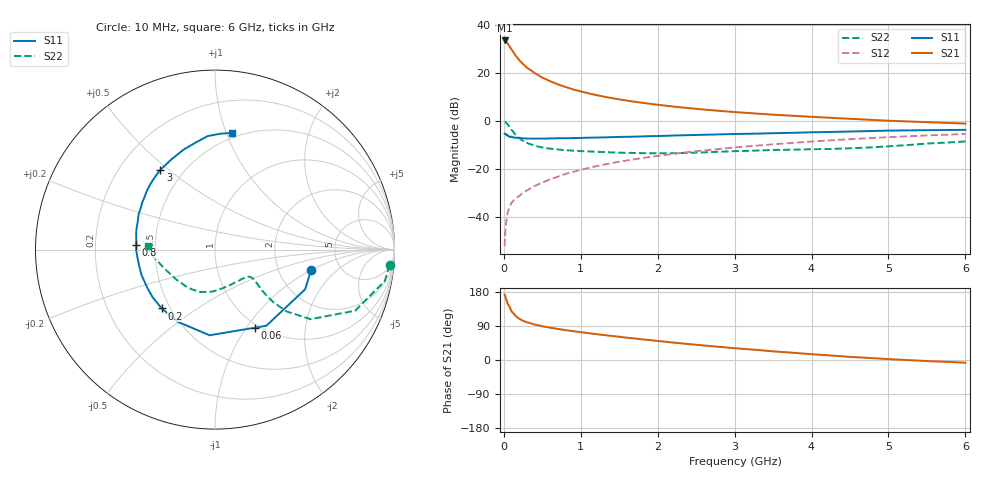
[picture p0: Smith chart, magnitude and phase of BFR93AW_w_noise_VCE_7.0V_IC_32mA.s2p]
! Infineon Technologies  Discrete & RF Semiconductors
! BFR93AW
! VCE =  7.0 V,  IC =  32 mA
! Common Emitter S-Parameters:  Jan 2017
# GHz  S  MA  R  50
!  f  S11  S21  S12  S22
! GHz  MAG  ANG  MAG  ANG  MAG  ANG  MAG  ANG
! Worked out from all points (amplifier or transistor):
!   77 points, 10 MHz to 6 GHz, reference 50 ohm
!   highest |S21| = 33.5 dB at 10 MHz (marker M1)
!   |S21| within 3 dB of that: start of sweep to 83.91 MHz
!   unconditionally stable (mu >= 1): 591.1 MHz to 2.045 GHz
!   at 130 MHz: K = 0.52, MSG = 30.6 dB, |S12| = -32.9 dB
!   at 2.2 GHz: K = 0.99, MSG = 9.9 dB, |S12| = -13.7 dB
!   at 6 GHz: K = 0.87, MSG = 2.2 dB, |S12| = -5.4 dB
!   lowest NFmin = 1.86 dB at 450 MHz
!   S11 on the Smith chart (normalised r, x): 10 MHz: 3.06, -1.00; 60 MHz: 0.96, -1.10; 200 MHz: 0.45, -0.37; 800 MHz: 0.39, +0.02; 3 GHz: 0.37, +0.47; 6 GHz: 0.46, +1.05
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0.01  0.5475 -12.0  47.47 172.6  0.0025 93.9  0.9764 -5.1
0.02  0.5487 -23.8  46.81 166.2  0.0052 80.5  0.9621 -10.5
0.05  0.5117 -56.0  41.07 148.4  0.0125 69.8  0.8516 -23.6
0.06  0.4886 -62.9  38.7 145.3  0.014 67.5  0.8102 -25.6
0.1  0.4783 -93.6  30.78 128.4  0.02 61.8  0.6578 -36.1
0.15  0.4526 -117.1  23.4 116.6  0.0244 58.7  0.5244 -40.9
0.2  0.4422 -132.1  18.55 109.0  0.0276 60.5  0.4412 -42.0
0.25  0.4372 -142.6  15.32 103.4  0.0324 60.9  0.3877 -41.8
0.3  0.4331 -150.3  12.95 99.5  0.0361 62.9  0.3505 -41.0
0.4  0.4333 -161.0  9.954 93.5  0.0443 65.9  0.3067 -39.2
0.5  0.432 -168.3  8.031 89.1  0.0527 66.8  0.2823 -38.0
0.6  0.4345 -174.5  6.757 85.3  0.0612 68.3  0.2667 -37.4
0.7  0.4387 -179.1  5.816 82.1  0.0695 69.9  0.2562 -37.3
0.8  0.4396 176.7  5.122 78.9  0.0795 70.2  0.2482 -37.8
1.1  0.451 166.4  3.775 70.9  0.1058 70.2  0.2337 -41.1
1.5  0.4681 155.6  2.822 61.3  0.1427 68.6  0.2202 -49.3
2.1  0.4937 141.8  2.092 48.2  0.198 64.5  0.2143 -67.4
3  0.5383 124.5  1.539 31.1  0.282 56.9  0.2366 -96.2
3.1  0.5414 122.7  1.501 29.6  0.2912 55.9  0.2384 -99.1
4.1  0.5872 106.1  1.202 14.0  0.384 45.9  0.2607 -128.2
5.1  0.6358 92.3  1.003 1.3  0.4703 35.0  0.3057 -161.6
6  0.6571 81.8  0.886 -7.1  0.5385 24.9  0.3762 177.3
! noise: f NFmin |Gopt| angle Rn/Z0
0.45  1.86  0.19  175  0.16
0.9  2.12  0.26  -174  0.16
1.9  3.16  0.51  -135  0.3
2.4  3.82  0.56  -124  0.57
